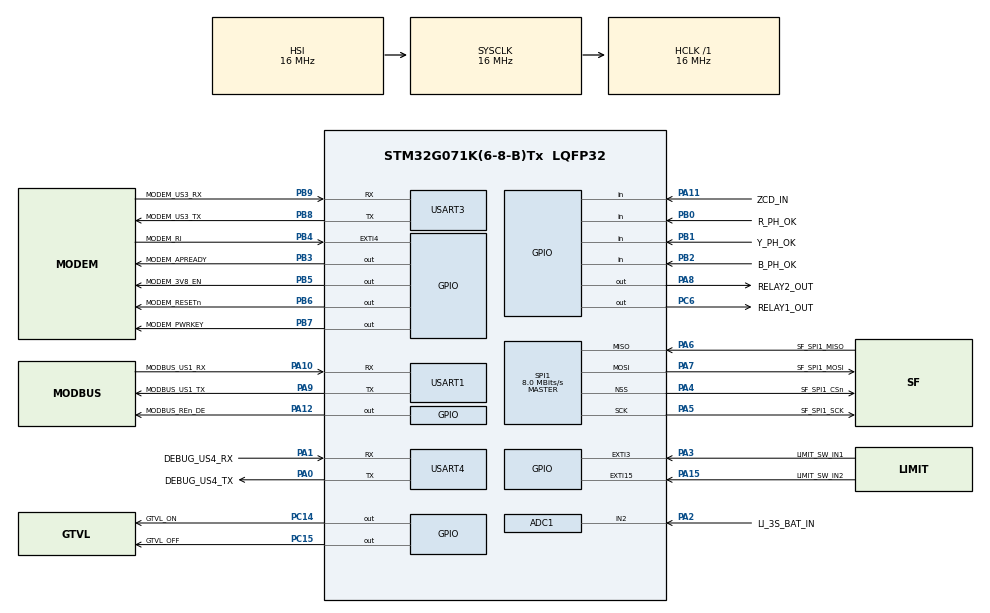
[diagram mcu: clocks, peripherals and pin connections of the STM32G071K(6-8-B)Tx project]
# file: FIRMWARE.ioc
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ADC1.Channel-0\#ChannelRegularConversion=ADC_CHANNEL_2
ADC1.NbrOfConversionFlag=1
ADC1.Rank-0\#ChannelRegularConversion=1
ADC1.SamplingTime-0\#ChannelRegularConversion=ADC_SAMPLINGTIME_COMMON_1
ADC1.SelectedChannel=ADC_CHANNEL_2
ADC1.master=1
Mcu.Family=STM32G0
Mcu.Name=STM32G071K(6-8-B)Tx
Mcu.Package=LQFP32
PA0.GPIO_Label=DEBUG_US4_TX
PA0.Mode=Asynchronous
PA0.Signal=USART4_TX
PA1.GPIO_Label=DEBUG_US4_RX
PA1.Mode=Asynchronous
PA1.Signal=USART4_RX
PA10.GPIO_Label=MODBUS_US1_RX
PA10.Mode=Asynchronous
PA10.Signal=USART1_RX
PA11\ [PA9].GPIO_Label=ZCD_IN
PA11\ [PA9].Signal=GPIO_Input
PA12\ [PA10].GPIO_Label=MODBUS_REn_DE
PA12\ [PA10].Signal=GPIO_Output
PA13.GPIO_Label=MCU_SWDIO
PA13.Mode=Serial_Wire
PA13.Signal=SYS_SWDIO
PA14-BOOT0.GPIO_Label=MCU_SWCLK
PA14-BOOT0.Mode=Serial_Wire
PA14-BOOT0.Signal=SYS_SWCLK
PA15.GPIO_Label=LIMIT_SW_IN2
PA15.Signal=GPXTI15
PA2.GPIO_Label=LI_3S_BAT_IN
PA2.Mode=IN2
PA2.Signal=ADC1_IN2
PA3.GPIO_Label=LIMIT_SW_IN1
PA3.Signal=GPXTI3
PA4.GPIO_Label=SF_SPI1_CSn
PA4.Mode=NSS_Signal_Hard_Output
PA4.Signal=SPI1_NSS
PA5.GPIO_Label=SF_SPI1_SCK
PA5.Mode=Full_Duplex_Master
PA5.Signal=SPI1_SCK
PA6.GPIO_Label=SF_SPI1_MISO
PA6.Mode=Full_Duplex_Master
PA6.Signal=SPI1_MISO
PA7.GPIO_Label=SF_SPI1_MOSI
PA7.Mode=Full_Duplex_Master
PA7.Signal=SPI1_MOSI
PA8.GPIO_Label=RELAY2_OUT
PA8.Signal=GPIO_Output
PA9.GPIO_Label=MODBUS_US1_TX
PA9.Mode=Asynchronous
PA9.Signal=USART1_TX
PB0.GPIO_Label=R_PH_OK
PB0.Signal=GPIO_Input
PB1.GPIO_Label=Y_PH_OK
PB1.Signal=GPIO_Input
PB2.GPIO_Label=B_PH_OK
PB2.Signal=GPIO_Input
PB3.GPIO_Label=MODEM_APREADY
PB3.Signal=GPIO_Output
PB4.GPIO_Label=MODEM_RI
PB4.Signal=GPXTI4
PB5.GPIO_Label=MODEM_3V8_EN
PB5.Signal=GPIO_Output
PB6.GPIO_Label=MODEM_RESETn
PB6.Signal=GPIO_Output
PB7.GPIO_Label=MODEM_PWRKEY
PB7.Signal=GPIO_Output
PB8.GPIO_Label=MODEM_US3_TX
PB8.Mode=Asynchronous
PB8.Signal=USART3_TX
PB9.GPIO_Label=MODEM_US3_RX
PB9.Mode=Asynchronous
PB9.Signal=USART3_RX
PC14-OSC32_IN\ (PC14).GPIO_Label=GTVL_ON
PC14-OSC32_IN\ (PC14).Signal=GPIO_Output
PC15-OSC32_OUT\ (PC15).GPIO_Label=GTVL_OFF
PC15-OSC32_OUT\ (PC15).Signal=GPIO_Output
PC6.GPIO_Label=RELAY1_OUT
PC6.Signal=GPIO_Output
ProjectManager.HeapSize=0x200
ProjectManager.StackSize=0x400
ProjectManager.TargetToolchain=STM32CubeIDE
RCC.AHBFreq_Value=16000000
RCC.CortexFreq_Value=16000000
RCC.EXTERNAL_CLOCK_VALUE=48000
RCC.HCLKFreq_Value=16000000
RCC.HSE_VALUE=8000000
RCC.HSI_VALUE=16000000
RCC.LSE_VALUE=32768
RCC.SYSCLKFreq_VALUE=16000000
RCC.VCOOutputFreq_Value=128000000
SPI1.CalculateBaudRate=8.0 MBits/s
SPI1.Direction=SPI_DIRECTION_2LINES
SPI1.Mode=SPI_MODE_MASTER
SPI1.VirtualNSS=VM_NSSHARD
SPI1.VirtualType=VM_MASTER
USART1.VirtualMode-Asynchronous=VM_ASYNC
USART3.VirtualMode-Asynchronous=VM_ASYNC
USART4.VirtualMode-Asynchronous=VM_ASYNC
board=custom

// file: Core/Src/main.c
/* USER CODE BEGIN Header */
/**
  ******************************************************************************
  * @file           : main.c
  * @brief          : Main program body
  ******************************************************************************
  * @attention
  *
  * Copyright (c) 2025 STMicroelectronics.
  * All rights reserved.
  *
  * This software is licensed under terms that can be found in the LICENSE file
  * in the root directory of this software component.
  * If no LICENSE file comes with this software, it is provided AS-IS.
  *
  ******************************************************************************
  */
/* USER CODE END Header */
#include "main.h"

/* USER CODE BEGIN Includes */
#include <string.h>
#include <stdio.h>
/* USER CODE END Includes */

/* USER CODE BEGIN PD */
// Buffer definitions
#define GSM_BUFFER_SIZE 1024
#define DEBUG_BUFFER_SIZE 512

#define RS485_ENABLE

#ifdef RS485_ENABLE
#   define MAX485_RECV do{HAL_GPIO_WritePin(MODBUS_REn_DE_GPIO_Port, MODBUS_REn_DE_Pin, GPIO_PIN_RESET);}while(0);
#   define MAX485_TRAN do{HAL_GPIO_WritePin(MODBUS_REn_DE_GPIO_Port, MODBUS_REn_DE_Pin, GPIO_PIN_SET);}while(0);
#else
#   define MAX485_RECV do{}while(0);
#   define MAX485_TRAN do{}while(0);
#endif

/* USER CODE END PD */

ADC_HandleTypeDef hadc1;

SPI_HandleTypeDef hspi1;

UART_HandleTypeDef huart1; // RS485 modbus
UART_HandleTypeDef huart3; // GSM module
UART_HandleTypeDef huart4; // Debug Uart

/* USER CODE BEGIN PV */
// Global variables
char GSMBuffer[GSM_BUFFER_SIZE];
volatile uint16_t GSMBufferIndex = 0;
volatile uint8_t GSMResponseReady = 0;
volatile char GSMRxChar;
// Global variables for timing
volatile uint32_t tickCounter = 0;
char DebugBuffer[DEBUG_BUFFER_SIZE+11]; // Buffer for debug messages //offset 11 is for print response

// APN Configuration
#warning Add your APN and HTTP here
const char *apn = "your_apn";
const char *http_url = "http://example.com";
/* USER CODE END PV */

void SystemClock_Config(void);
static void MX_GPIO_Init(void);
static void MX_ADC1_Init(void);
static void MX_SPI1_Init(void);
static void MX_USART1_UART_Init(void);
static void MX_USART3_UART_Init(void);
static void MX_USART4_UART_Init(void);
/* USER CODE BEGIN PFP */
void GSMSendCommand(const char *cmd);
void ProcessGSMResponse(void);
void HTTPGetRequest(void);
/* USER CODE END PFP */

// SysTick handler
void SysTick_Handler(void) {
    if(tickCounter > 0) {
        tickCounter--;
    }
}

// Delay function using SysTick
void DelayMs(uint32_t ms) {
    tickCounter = ms;
    while(tickCounter != 0);
}

/* USER CODE BEGIN 0 */
// Initialize GSM UART with interrupts
void GSM_UART_Init(void) {
    // Enable UART3 interrupt reception
    HAL_UART_Receive_IT(&huart3, (uint8_t*)&GSMRxChar, 1);
}

/**
 * @brief  UART Rx Complete Callback (Interrupt Handler)
 * @param  huart: UART handle pointer
 */
// UART Reception Callback
void HAL_UART_RxCpltCallback(UART_HandleTypeDef *huart) {
    if(huart->Instance == USART3) {
        if(GSMBufferIndex < GSM_BUFFER_SIZE - 1) {
            GSMBuffer[GSMBufferIndex++] = GSMRxChar;
            GSMBuffer[GSMBufferIndex] = '\0';
        }
        // Re-enable interrupt reception
        HAL_UART_Receive_IT(&huart3, (uint8_t*)&GSMRxChar, 1);
    }
}

/**
 * @brief  Sends AT command to EC200U
 * @param  cmd: Command string to send
 */
// Send AT Command with Debug Output
void GSM_SendCommand(const char* cmd) {
    char debugBuff[DEBUG_BUFFER_SIZE];

    // Send command to GSM
    HAL_UART_Transmit(&huart3, (uint8_t*)cmd, strlen(cmd), 100);
    HAL_UART_Transmit(&huart3, (uint8_t*)"\r\n", 2, 100);

    // Debug output
    snprintf(debugBuff, DEBUG_BUFFER_SIZE, "AT Command: %s\r\n", cmd);
    HAL_UART_Transmit(&huart4, (uint8_t*)debugBuff, strlen(debugBuff), 100);
}

// Wait for GSM response with timeout
uint8_t GSM_WaitResponse(const char* expectedResponse, uint32_t timeout) {
    uint32_t startTime = tickCounter;
    char debugBuff[DEBUG_BUFFER_SIZE];

    while(tickCounter - startTime < timeout) {
        if(strstr(GSMBuffer, expectedResponse)) {
            // Debug output
            snprintf(debugBuff, DEBUG_BUFFER_SIZE, "Response: %s\r\n", GSMBuffer);
            HAL_UART_Transmit(&huart4, (uint8_t*)debugBuff, strlen(debugBuff), 100);

            // Clear buffer
            memset(GSMBuffer, 0, GSM_BUFFER_SIZE);
            GSMBufferIndex = 0;
            return 1;
        }
    }
    return 0;
}

// EC200U Power-up sequence
void EC200U_PowerUp(void) {
    // 1. Enable 3.8V power supply
    HAL_GPIO_WritePin(MODEM_3V8_EN_GPIO_Port, MODEM_3V8_EN_Pin, GPIO_PIN_SET);
    DelayMs(200); // Wait for power stabilization

    // 2. Pull PWRKEY high for at least 100ms (as per EC200U datasheet)
    HAL_GPIO_WritePin(MODEM_PWRKEY_GPIO_Port, MODEM_PWRKEY_Pin, GPIO_PIN_SET);
    DelayMs(200);  // 200ms for margin
    HAL_GPIO_WritePin(MODEM_PWRKEY_GPIO_Port, MODEM_PWRKEY_Pin, GPIO_PIN_RESET);

    // 3. Wait for module to initialize
    DelayMs(5000);  // Give module time to boot
}

// HTTP Connection Setup and Request
uint8_t HTTP_Setup(const char* apn, const char* url) {
    char cmdBuffer[128];

    // 1. Check if module is responding
    GSM_SendCommand("AT");
    if(!GSM_WaitResponse("OK", 1000)) return 0;

    // 2. Set APN
    snprintf(cmdBuffer, sizeof(cmdBuffer), "AT+CGDCONT=1,\"IP\",\"%s\"", apn);
    GSM_SendCommand(cmdBuffer);
    if(!GSM_WaitResponse("OK", 2000)) return 0;

    // 3. Activate PDP context
    GSM_SendCommand("AT+QIACT=1");
    if(!GSM_WaitResponse("OK", 10000)) return 0;  // Longer timeout for network registration

    // 4. Configure HTTP URL
    snprintf(cmdBuffer, sizeof(cmdBuffer), "AT+QHTTPURL=%d,80", strlen(url));
    GSM_SendCommand(cmdBuffer);
    if(!GSM_WaitResponse("CONNECT", 1000)) return 0;

    // 5. Send URL
    GSM_SendCommand(url);
    if(!GSM_WaitResponse("OK", 2000)) return 0;

    return 1;
}

// Perform HTTP GET Request
uint8_t HTTP_GET(void) {
    // Send HTTP GET command
    GSM_SendCommand("AT+QHTTPGET=80");

    // Wait for response with longer timeout
    if(!GSM_WaitResponse("OK", 10000)) return 0;

    // Wait for +QHTTPGET response
    if(!GSM_WaitResponse("+QHTTPGET: 0,200", 15000)) return 0;

    return 1;
}

// Main initialization and HTTP request sequence
void GSM_HTTP_Init(void) {
    char debugBuff[DEBUG_BUFFER_SIZE];

    // Initialize UART for GSM
    GSM_UART_Init();

    // Power up EC200U
    snprintf(debugBuff, DEBUG_BUFFER_SIZE, "Initializing EC200U...\r\n");
    HAL_UART_Transmit(&huart4, (uint8_t*)debugBuff, strlen(debugBuff), 100);

    EC200U_PowerUp();

    // Setup HTTP connection
    if(HTTP_Setup(apn, http_url)) {
        snprintf(debugBuff, DEBUG_BUFFER_SIZE, "HTTP Setup successful\r\n");
        HAL_UART_Transmit(&huart4, (uint8_t*)debugBuff, strlen(debugBuff), 100);

        // Perform HTTP GET
        if(HTTP_GET()) {
            snprintf(debugBuff, DEBUG_BUFFER_SIZE, "HTTP GET successful\r\n");
        } else {
            snprintf(debugBuff, DEBUG_BUFFER_SIZE, "HTTP GET failed\r\n");
        }
    } else {
        snprintf(debugBuff, DEBUG_BUFFER_SIZE, "HTTP Setup failed\r\n");
    }
    HAL_UART_Transmit(&huart4, (uint8_t*)debugBuff, strlen(debugBuff), 100);
}

#if 0
/**
 * @brief  Processes GSM Response
 */
void ProcessGSMResponse(void) {
    if (strstr(GSMrxBuffer, "OK") || strstr(GSMrxBuffer, "ERROR")) {
        snprintf(DebugBuffer, sizeof(DebugBuffer), "Response: %s\n", GSMrxBuffer);
        HAL_UART_Transmit(&huart4, (uint8_t*)DebugBuffer, strlen(DebugBuffer), HAL_MAX_DELAY);
    }
    memset(GSMrxBuffer, 0, GSM_BUFFER_SIZE);
    GSMrxIndex = 0;
}

/**
 * @brief  Establishes a PDP context and sends an HTTP GET request
 */
void HTTPGetRequest(void) {
    GSMSendCommand("AT");               // Check module
    DelayMs(1000);
    ProcessGSMResponse();

    char tempBuff[64];
    snprintf(tempBuff, sizeof(tempBuff), "AT+CGDCONT=1,\"IP\",\"%s\"", apn);
    GSMSendCommand(tempBuff);  // Set APN
    DelayMs(2000);
    ProcessGSMResponse();

    GSMSendCommand("AT+QIACT=1");       // Activate PDP context
    DelayMs(5000);
    ProcessGSMResponse();

    GSMSendCommand("AT+QHTTPURL=20,80"); // Set HTTP URL length
    DelayMs(1000);
    GSMSendCommand(http_url);           // Send HTTP URL
    DelayMs(2000);
    ProcessGSMResponse();

    GSMSendCommand("AT+QHTTPGET=80");   // Perform HTTP GET
    DelayMs(5000);
    ProcessGSMResponse();
}
#endif

/* USER CODE END 0 */

int main(void)
{

  /* MCU Configuration--------------------------------------------------------*/

  /* Reset of all peripherals, Initializes the Flash interface and the Systick. */
  HAL_Init();

  /* Configure the system clock */
  SystemClock_Config();

  /* Initialize all configured peripherals */
  MX_GPIO_Init();
  MX_ADC1_Init();
  MX_SPI1_Init();
  MX_USART1_UART_Init();
  MX_USART3_UART_Init();
  MX_USART4_UART_Init();
  /* USER CODE BEGIN 2 */
  // Initialize system tick for 1ms interrupts
  SystemCoreClockUpdate();
  SysTick_Config(SystemCoreClock / 1000);

  // Initialize GSM and perform HTTP request
  GSM_HTTP_Init();
#if 0 //Ranjan
  //Welcome Messages
    printf("System Initializing Started...\n");
    HAL_Delay(2000);
    printf("System Initialization Done\n");
    HAL_Delay(2000);

    //Initialize 3.8V Regulator
    printf("Initializing 3.8V Regulator...\n");
    HAL_Delay(2000);
    HAL_GPIO_WritePin(GPIOB, GPIO_PIN_5, GPIO_PIN_SET);
    printf("3.8V Regulator Started\n");
    HAL_Delay(2000);

    //Initialize 4G modem power-key
    printf("Initializing 4G modem power-key...\n");
    HAL_GPIO_WritePin(GPIOB, GPIO_PIN_7, GPIO_PIN_SET);
    HAL_Delay(2000);
    HAL_GPIO_WritePin(GPIOB, GPIO_PIN_7, GPIO_PIN_RESET);
    printf("4G Modem Started\n");
    HAL_Delay(2000);
    HAL_GPIO_WritePin(GPIOB, GPIO_PIN_3, GPIO_PIN_SET);
    HAL_Delay(2000);

    HAL_NVIC_SetPriority(USART3_4_LPUART1_IRQn, 0, 0);
    HAL_NVIC_EnableIRQ(USART3_4_LPUART1_IRQn);

    HAL_UART_Receive_IT(&huart4, &rx_buffer, 1);
        // Send an AT command to the modem via UART3
    	  printf("sending AT");
        Send_AT_Command("AT");  // For example, "AT" command to test if the modem responds
        HAL_Delay(2000);  // Wait for a response (you may want to implement a timeout here)
        printf("sending ATI");
        Send_AT_Command("ATI");
        HAL_Delay(2000);
//#endif //ranjan
        GSMUARTInit();
   //Welcome Messages
#warning why 4 sec delay???
    printf("System Initializing Started...\n");
    DelayMs(2000);
    printf("System Initialization Done\n");
    DelayMs(2000);

    //Initialize 3.8V Regulator
    printf("Initializing 3.8V Regulator...\n");
    DelayMs(2000);
    HAL_GPIO_WritePin(MODEM_3V8_EN_GPIO_Port, MODEM_3V8_EN_Pin, GPIO_PIN_SET);
    printf("3.8V Regulator Started\n");
    DelayMs(2000);

#warning according to datasheet ist 100ms why 2sec??
    //Initialize 4G modem power-key
    printf("Initializing 4G modem power-key...\n");
    HAL_GPIO_WritePin(MODEM_PWRKEY_GPIO_Port, MODEM_PWRKEY_Pin, GPIO_PIN_SET);
    DelayMs(2000);
    HAL_GPIO_WritePin(MODEM_PWRKEY_GPIO_Port, MODEM_PWRKEY_Pin, GPIO_PIN_RESET);
    printf("4G Modem Started\n");
    DelayMs(2000);
    HAL_GPIO_WritePin(MODEM_APREADY_GPIO_Port, MODEM_APREADY_Pin, GPIO_PIN_SET);
    DelayMs(2000);
    HTTPGetRequest();
#endif
  /* USER CODE END 2 */

  /* Infinite loop */
  while (1)
  {

  }
}

void SystemClock_Config(void)
{
  RCC_OscInitTypeDef RCC_OscInitStruct = {0};
  RCC_ClkInitTypeDef RCC_ClkInitStruct = {0};

  /** Configure the main internal regulator output voltage
  */
  HAL_PWREx_ControlVoltageScaling(PWR_REGULATOR_VOLTAGE_SCALE1);

  /** Initializes the RCC Oscillators according to the specified parameters
  * in the RCC_OscInitTypeDef structure.
  */
  RCC_OscInitStruct.OscillatorType = RCC_OSCILLATORTYPE_HSI;
  RCC_OscInitStruct.HSIState = RCC_HSI_ON;
  RCC_OscInitStruct.HSIDiv = RCC_HSI_DIV1;
  RCC_OscInitStruct.HSICalibrationValue = RCC_HSICALIBRATION_DEFAULT;
  RCC_OscInitStruct.PLL.PLLState = RCC_PLL_NONE;
  if (HAL_RCC_OscConfig(&RCC_OscInitStruct) != HAL_OK)
  {
    Error_Handler();
  }

  /** Initializes the CPU, AHB and APB buses clocks
  */
  RCC_ClkInitStruct.ClockType = RCC_CLOCKTYPE_HCLK|RCC_CLOCKTYPE_SYSCLK
                              |RCC_CLOCKTYPE_PCLK1;
  RCC_ClkInitStruct.SYSCLKSource = RCC_SYSCLKSOURCE_HSI;
  RCC_ClkInitStruct.AHBCLKDivider = RCC_SYSCLK_DIV1;
  RCC_ClkInitStruct.APB1CLKDivider = RCC_HCLK_DIV1;

  if (HAL_RCC_ClockConfig(&RCC_ClkInitStruct, FLASH_LATENCY_0) != HAL_OK)
  {
    Error_Handler();
  }
}

static void MX_ADC1_Init(void)
{

  ADC_ChannelConfTypeDef sConfig = {0};

  /** Configure the global features of the ADC (Clock, Resolution, Data Alignment and number of conversion)
  */
  hadc1.Instance = ADC1;
  hadc1.Init.ClockPrescaler = ADC_CLOCK_SYNC_PCLK_DIV2;
  hadc1.Init.Resolution = ADC_RESOLUTION_12B;
  hadc1.Init.DataAlign = ADC_DATAALIGN_RIGHT;
  hadc1.Init.ScanConvMode = ADC_SCAN_DISABLE;
  hadc1.Init.EOCSelection = ADC_EOC_SINGLE_CONV;
  hadc1.Init.LowPowerAutoWait = DISABLE;
  hadc1.Init.LowPowerAutoPowerOff = DISABLE;
  hadc1.Init.ContinuousConvMode = DISABLE;
  hadc1.Init.NbrOfConversion = 1;
  hadc1.Init.DiscontinuousConvMode = DISABLE;
  hadc1.Init.ExternalTrigConv = ADC_SOFTWARE_START;
  hadc1.Init.ExternalTrigConvEdge = ADC_EXTERNALTRIGCONVEDGE_NONE;
  hadc1.Init.DMAContinuousRequests = DISABLE;
  hadc1.Init.Overrun = ADC_OVR_DATA_PRESERVED;
  hadc1.Init.SamplingTimeCommon1 = ADC_SAMPLETIME_1CYCLE_5;
  hadc1.Init.SamplingTimeCommon2 = ADC_SAMPLETIME_1CYCLE_5;
  hadc1.Init.OversamplingMode = DISABLE;
  hadc1.Init.TriggerFrequencyMode = ADC_TRIGGER_FREQ_HIGH;
  if (HAL_ADC_Init(&hadc1) != HAL_OK)
  {
    Error_Handler();
  }

  /** Configure Regular Channel
  */
  sConfig.Channel = ADC_CHANNEL_2;
  sConfig.Rank = ADC_REGULAR_RANK_1;
  sConfig.SamplingTime = ADC_SAMPLINGTIME_COMMON_1;
  if (HAL_ADC_ConfigChannel(&hadc1, &sConfig) != HAL_OK)
  {
    Error_Handler();
  }

}

static void MX_SPI1_Init(void)
{

  /* SPI1 parameter configuration*/
  hspi1.Instance = SPI1;
  hspi1.Init.Mode = SPI_MODE_MASTER;
  hspi1.Init.Direction = SPI_DIRECTION_2LINES;
  hspi1.Init.DataSize = SPI_DATASIZE_4BIT;
  hspi1.Init.CLKPolarity = SPI_POLARITY_LOW;
  hspi1.Init.CLKPhase = SPI_PHASE_1EDGE;
  hspi1.Init.NSS = SPI_NSS_HARD_OUTPUT;
  hspi1.Init.BaudRatePrescaler = SPI_BAUDRATEPRESCALER_2;
  hspi1.Init.FirstBit = SPI_FIRSTBIT_MSB;
  hspi1.Init.TIMode = SPI_TIMODE_DISABLE;
  hspi1.Init.CRCCalculation = SPI_CRCCALCULATION_DISABLE;
  hspi1.Init.CRCPolynomial = 7;
  hspi1.Init.CRCLength = SPI_CRC_LENGTH_DATASIZE;
  hspi1.Init.NSSPMode = SPI_NSS_PULSE_ENABLE;
  if (HAL_SPI_Init(&hspi1) != HAL_OK)
  {
    Error_Handler();
  }

}

static void MX_USART1_UART_Init(void)
{

  huart1.Instance = USART1;
  huart1.Init.BaudRate = 115200;
  huart1.Init.WordLength = UART_WORDLENGTH_8B;
  huart1.Init.StopBits = UART_STOPBITS_1;
  huart1.Init.Parity = UART_PARITY_NONE;
  huart1.Init.Mode = UART_MODE_TX_RX;
  huart1.Init.HwFlowCtl = UART_HWCONTROL_NONE;
  huart1.Init.OverSampling = UART_OVERSAMPLING_16;
  huart1.Init.OneBitSampling = UART_ONE_BIT_SAMPLE_DISABLE;
  huart1.Init.ClockPrescaler = UART_PRESCALER_DIV1;
  huart1.AdvancedInit.AdvFeatureInit = UART_ADVFEATURE_NO_INIT;
  if (HAL_UART_Init(&huart1) != HAL_OK)
  {
    Error_Handler();
  }
  if (HAL_UARTEx_SetTxFifoThreshold(&huart1, UART_TXFIFO_THRESHOLD_1_8) != HAL_OK)
  {
    Error_Handler();
  }
  if (HAL_UARTEx_SetRxFifoThreshold(&huart1, UART_RXFIFO_THRESHOLD_1_8) != HAL_OK)
  {
    Error_Handler();
  }
  if (HAL_UARTEx_DisableFifoMode(&huart1) != HAL_OK)
  {
    Error_Handler();
  }

}

static void MX_USART3_UART_Init(void)
{

  huart3.Instance = USART3;
  huart3.Init.BaudRate = 115200;
  huart3.Init.WordLength = UART_WORDLENGTH_8B;
  huart3.Init.StopBits = UART_STOPBITS_1;
  huart3.Init.Parity = UART_PARITY_NONE;
  huart3.Init.Mode = UART_MODE_TX_RX;
  huart3.Init.HwFlowCtl = UART_HWCONTROL_NONE;
  huart3.Init.OverSampling = UART_OVERSAMPLING_16;
  huart3.Init.OneBitSampling = UART_ONE_BIT_SAMPLE_DISABLE;
  huart3.Init.ClockPrescaler = UART_PRESCALER_DIV1;
  huart3.AdvancedInit.AdvFeatureInit = UART_ADVFEATURE_NO_INIT;
  if (HAL_UART_Init(&huart3) != HAL_OK)
  {
    Error_Handler();
  }

}

static void MX_USART4_UART_Init(void)
{

  huart4.Instance = USART4;
  huart4.Init.BaudRate = 115200;
  huart4.Init.WordLength = UART_WORDLENGTH_8B;
  huart4.Init.StopBits = UART_STOPBITS_1;
  huart4.Init.Parity = UART_PARITY_NONE;
  huart4.Init.Mode = UART_MODE_TX_RX;
  huart4.Init.HwFlowCtl = UART_HWCONTROL_NONE;
  huart4.Init.OverSampling = UART_OVERSAMPLING_16;
  huart4.Init.OneBitSampling = UART_ONE_BIT_SAMPLE_DISABLE;
  huart4.Init.ClockPrescaler = UART_PRESCALER_DIV1;
  huart4.AdvancedInit.AdvFeatureInit = UART_ADVFEATURE_NO_INIT;
  if (HAL_UART_Init(&huart4) != HAL_OK)
  {
    Error_Handler();
  }

}

static void MX_GPIO_Init(void)
{
  GPIO_InitTypeDef GPIO_InitStruct = {0};

  /* GPIO Ports Clock Enable */
  __HAL_RCC_GPIOB_CLK_ENABLE();
  __HAL_RCC_GPIOC_CLK_ENABLE();
  __HAL_RCC_GPIOA_CLK_ENABLE();

  /*Configure GPIO pin Output Level */
  HAL_GPIO_WritePin(GPIOC, GTVL_ON_Pin|GTVL_OFF_Pin|RELAY1_OUT_Pin, GPIO_PIN_RESET);

  /*Configure GPIO pin Output Level */
  HAL_GPIO_WritePin(GPIOA, RELAY2_OUT_Pin|MODBUS_REn_DE_Pin, GPIO_PIN_RESET);

  /*Configure GPIO pin Output Level */
  HAL_GPIO_WritePin(GPIOB, MODEM_APREADY_Pin|MODEM_3V8_EN_Pin|MODEM_RESETn_Pin|MODEM_PWRKEY_Pin, GPIO_PIN_RESET);

  /*Configure GPIO pins : GTVL_ON_Pin GTVL_OFF_Pin RELAY1_OUT_Pin */
  GPIO_InitStruct.Pin = GTVL_ON_Pin|GTVL_OFF_Pin|RELAY1_OUT_Pin;
  GPIO_InitStruct.Mode = GPIO_MODE_OUTPUT_PP;
  GPIO_InitStruct.Pull = GPIO_NOPULL;
  GPIO_InitStruct.Speed = GPIO_SPEED_FREQ_LOW;
  HAL_GPIO_Init(GPIOC, &GPIO_InitStruct);

  /*Configure GPIO pins : LIMIT_SW_IN1_Pin LIMIT_SW_IN2_Pin */
  GPIO_InitStruct.Pin = LIMIT_SW_IN1_Pin|LIMIT_SW_IN2_Pin;
  GPIO_InitStruct.Mode = GPIO_MODE_IT_RISING;
  GPIO_InitStruct.Pull = GPIO_NOPULL;
  HAL_GPIO_Init(GPIOA, &GPIO_InitStruct);

  /*Configure GPIO pins : R_PH_OK_Pin Y_PH_OK_Pin B_PH_OK_Pin */
  GPIO_InitStruct.Pin = R_PH_OK_Pin|Y_PH_OK_Pin|B_PH_OK_Pin;
  GPIO_InitStruct.Mode = GPIO_MODE_INPUT;
  GPIO_InitStruct.Pull = GPIO_NOPULL;
  HAL_GPIO_Init(GPIOB, &GPIO_InitStruct);

  /*Configure GPIO pins : RELAY2_OUT_Pin MODBUS_REn_DE_Pin */
  GPIO_InitStruct.Pin = RELAY2_OUT_Pin|MODBUS_REn_DE_Pin;
  GPIO_InitStruct.Mode = GPIO_MODE_OUTPUT_PP;
  GPIO_InitStruct.Pull = GPIO_NOPULL;
  GPIO_InitStruct.Speed = GPIO_SPEED_FREQ_LOW;
  HAL_GPIO_Init(GPIOA, &GPIO_InitStruct);

  /*Configure GPIO pin : ZCD_IN_Pin */
  GPIO_InitStruct.Pin = ZCD_IN_Pin;
  GPIO_InitStruct.Mode = GPIO_MODE_INPUT;
  GPIO_InitStruct.Pull = GPIO_NOPULL;
  HAL_GPIO_Init(ZCD_IN_GPIO_Port, &GPIO_InitStruct);

  /*Configure GPIO pins : MODEM_APREADY_Pin MODEM_3V8_EN_Pin MODEM_RESETn_Pin MODEM_PWRKEY_Pin */
  GPIO_InitStruct.Pin = MODEM_APREADY_Pin|MODEM_3V8_EN_Pin|MODEM_RESETn_Pin|MODEM_PWRKEY_Pin;
  GPIO_InitStruct.Mode = GPIO_MODE_OUTPUT_PP;
  GPIO_InitStruct.Pull = GPIO_NOPULL;
  GPIO_InitStruct.Speed = GPIO_SPEED_FREQ_LOW;
  HAL_GPIO_Init(GPIOB, &GPIO_InitStruct);

  /*Configure GPIO pin : MODEM_RI_Pin */
  GPIO_InitStruct.Pin = MODEM_RI_Pin;
  GPIO_InitStruct.Mode = GPIO_MODE_IT_RISING;
  GPIO_InitStruct.Pull = GPIO_NOPULL;
  HAL_GPIO_Init(MODEM_RI_GPIO_Port, &GPIO_InitStruct);

}

void Error_Handler(void)
{
  __disable_irq();
  while (1)
  {
  }
}
